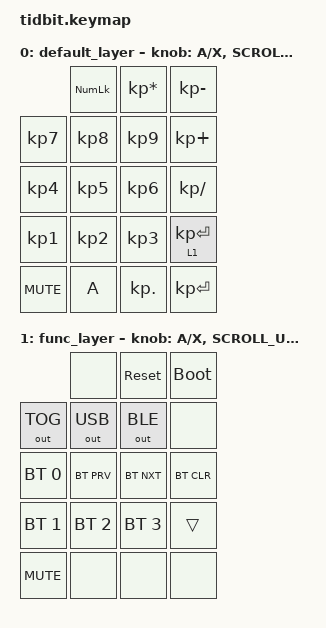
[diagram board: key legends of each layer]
/*
 * Copyright (c) 2020 The ZMK Contributors
 *
 * SPDX-License-Identifier: MIT
 */

#include <behaviors.dtsi>
#include <dt-bindings/zmk/bt.h>
#include <dt-bindings/zmk/keys.h>
#include <dt-bindings/zmk/outputs.h>


/* Enable ONLY ONE of the &encoder_1 nodes. They are wired to the same pins.*/

&encoder_1 {
    status = "okay";
};
/*
&encoder_1_top_left {
    status = "okay";
};
*/


&encoder_2 {
     status = "okay";
};

&encoder_3 {
    status = "okay";
};


&encoder_4 {
    status = "okay";
};

/* Add any encoder(s) you have enabled to the sensors node, separated by spaces. */
&sensors {
    sensors = <&encoder_1>, <&encoder_2>, <&encoder_3>, <&encoder_4>;
};

/ {
    keymap {
        compatible = "zmk,keymap";

        default_layer {
            bindings = <
                                &kp KP_NUMLOCK  &kp KP_ASTERISK &kp KP_MINUS
                &kp KP_NUMBER_7 &kp KP_NUMBER_8 &kp KP_NUMBER_9 &kp KP_PLUS
                &kp KP_NUMBER_4 &kp KP_NUMBER_5 &kp KP_NUMBER_6 &kp KP_SLASH
                &kp KP_NUMBER_1 &kp KP_NUMBER_2 &kp KP_NUMBER_3 &lt 1 KP_ENTER
                &kp C_MUTE      &kp A           &kp KP_DOT      &kp KP_ENTER
            >;

            sensor-bindings = <&inc_dec_kp A X &inc_dec_kp K_SCROLL_UP K_SCROLL_DOWN &inc_dec_kp G J &inc_dec_kp H K>;
        };

         func_layer {
             bindings = <
                                &none           &sys_reset      &bootloader
                &out OUT_TOG    &out OUT_USB    &out OUT_BLE    &none
                &bt BT_SEL 0    &bt BT_PRV      &bt BT_NXT      &bt BT_CLR
                &bt BT_SEL 1    &bt BT_SEL 2    &bt BT_SEL 3    &trans
                &kp C_MUTE      &none           &none           &none
             >;

            sensor-bindings = <&inc_dec_kp A X &inc_dec_kp K_SCROLL_UP K_SCROLL_DOWN &inc_dec_kp G J &inc_dec_kp H K>;
         };
    };
};
